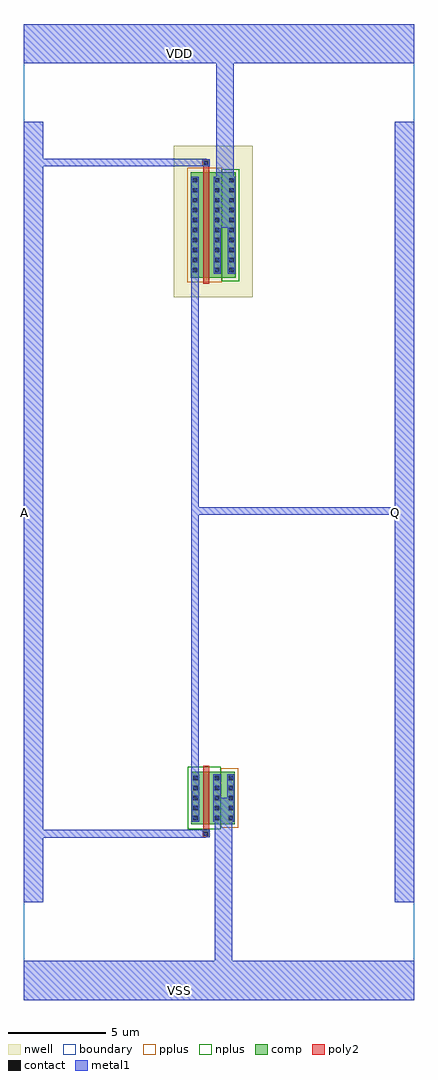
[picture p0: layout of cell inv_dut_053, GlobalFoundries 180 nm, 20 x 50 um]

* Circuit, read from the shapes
.subckt inv_dut_053 A Q VDD VSS
XM1 VSS A Q VSS nfet_03v3 w=2.7u l=0.3u
XM2 VDD A Q VDD pfet_03v3 w=5.4u l=0.3u
.ends

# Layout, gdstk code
import gdstk
lib = gdstk.Library(unit=1e-6, precision=1e-09)
def R(c, l, rs):  # rectangles x0, y0, x1, y1
    for r in rs: c.add(gdstk.rectangle(r[:2], r[2:], *l))
def A(c, l, x, y, w, h, nx, ny, dx, dy):  # array of equal rectangles
    R(c, l, [(x+i*dx, y+j*dy, x+i*dx+w, y+j*dy+h) for i in range(nx) for j in range(ny)])
def P(c, l, *ps):  # polygons
    for p in ps: c.add(gdstk.Polygon(p, *l))
boundary = (0, 0)
nwell = (21, 0)
comp = (22, 0)
poly2 = (30, 0)
pplus = (31, 0)
nplus = (32, 0)
contact = (33, 0)
metal1 = (34, 0)

nfet = lib.new_cell('nfet')
R(nfet, comp, [(-0.42,0,1.81,2.7)])
P(nfet, poly2, [(0.16,-0.66),(0.16,-0.3),(0.19,-0.3),(0.19,3),(0.49,3),(0.49,-0.3),(0.52,-0.3),(0.52,-0.66)])
R(nfet, pplus, [(1.1,-0.17,1.98,2.87)])
R(nfet, nplus, [(-0.59,-0.24,1.1,2.94)])
A(nfet, contact, -0.32, 0.22, 0.22, 0.22, 1, 5, 0, 0.51)
A(nfet, contact, 0.78, 0.22, 0.22, 0.22, 1, 5, 0, 0.51)
A(nfet, contact, 1.49, 0.22, 0.22, 0.22, 1, 5, 0, 0.51)
R(nfet, contact, [(0.23,-0.59,0.45,-0.37)])
R(nfet, metal1, [(0.15,-0.67,0.53,-0.29), (-0.4,0.14,-0.02,2.56), (0.7,0.14,1.08,2.56), (1.41,0.14,1.79,2.56)])

pfet = lib.new_cell('pfet')
R(pfet, nwell, [(-1.32,-0.99,2.73,6.77)])
R(pfet, comp, [(-0.46,0,1.87,5.4)])
P(pfet, poly2, [(0.19,-0.3),(0.19,5.7),(0.15,5.7),(0.15,6.08),(0.53,6.08),(0.53,5.7),(0.49,5.7),(0.49,-0.3)])
R(pfet, pplus, [(-0.63,-0.24,1.14,5.64)])
R(pfet, nplus, [(1.14,-0.17,2.04,5.57)])
A(pfet, contact, -0.34, 0.295, 0.22, 0.22, 1, 10, 0, 0.51)
A(pfet, contact, 0.8, 0.295, 0.22, 0.22, 1, 10, 0, 0.51)
A(pfet, contact, 1.53, 0.295, 0.22, 0.22, 1, 10, 0, 0.51)
R(pfet, contact, [(0.23,5.78,0.45,6)])
R(pfet, metal1, [(-0.42,0.215,-0.04,5.185), (0.72,0.215,1.1,5.185), (1.45,0.215,1.83,5.185), (0.15,5.7,0.53,6.08)])

inv_dut_053 = lib.new_cell('inv_dut_053')
R(inv_dut_053, boundary, [(-10,-25,10,25)])
R(inv_dut_053, metal1, [(-10,-25,10,-23), (-10,-20,-9,20), (9,-20,10,20), (-10,23,10,25)])
inv_dut_053.add(gdstk.FlexPath([(0.3,14.555),(0.3,23.85),(0.32,23.85)], 0.9, ends="flush", simple_path=True, layer=34, datatype=0))  # metal1
inv_dut_053.add(gdstk.FlexPath([(0.24,-14.63),(0.24,-23.675)], 0.9, ends="flush", simple_path=True, layer=34, datatype=0))  # metal1
inv_dut_053.add(gdstk.FlexPath([(-1.23,14.15),(-1.23,-14.065),(-1.165,-14.065),(-1.165,-14.065)], 0.4, ends="flush", simple_path=True, layer=34, datatype=0))  # metal1
inv_dut_053.add(gdstk.FlexPath([(-1.24,0.055),(9.44,0.055)], 0.4, ends="flush", simple_path=True, layer=34, datatype=0))  # metal1
inv_dut_053.add(gdstk.FlexPath([(-0.665,17.905),(-9.485,17.905)], 0.4, ends="flush", simple_path=True, layer=34, datatype=0))  # metal1
inv_dut_053.add(gdstk.FlexPath([(-0.675,-16.485),(-9.525,-16.485)], 0.4, ends="flush", simple_path=True, layer=34, datatype=0))  # metal1
inv_dut_053.add(gdstk.Reference(nfet, (-1,-16)))
inv_dut_053.add(gdstk.Reference(pfet, (-1,12)))
inv_dut_053.add(gdstk.Label('VDD', (-2,23.5), layer=34, texttype=10))
inv_dut_053.add(gdstk.Label('VSS', (-2,-24.5), layer=34, texttype=10))
inv_dut_053.add(gdstk.Label('A', (-9.97,0), layer=34, texttype=10))
inv_dut_053.add(gdstk.Label('Q', (9.03,0), layer=34, texttype=10))

lib.write_gds('inv_dut_053.gds')
